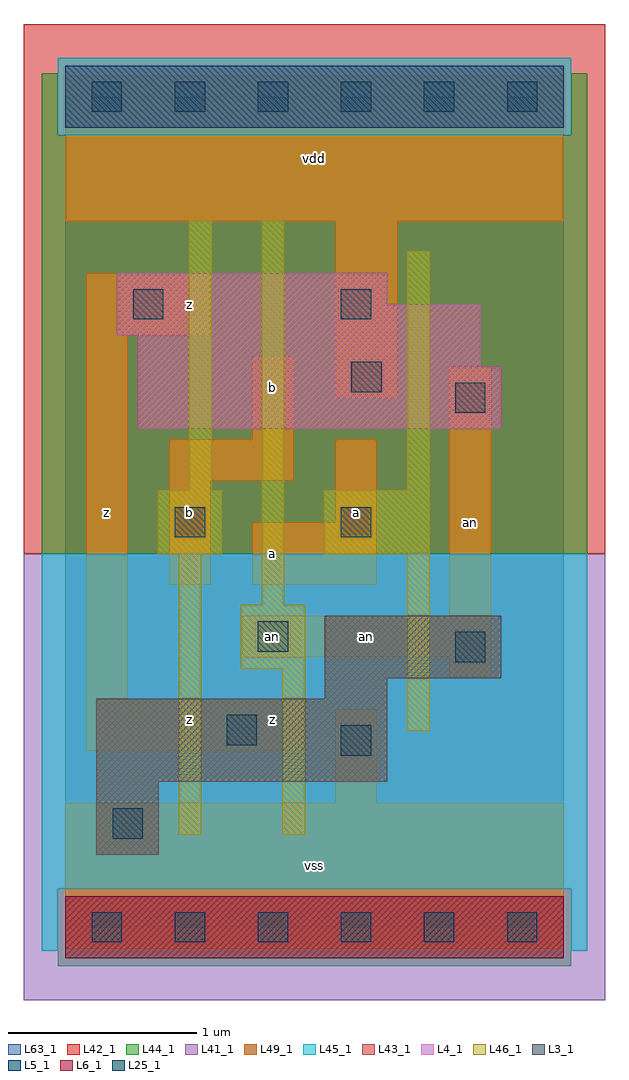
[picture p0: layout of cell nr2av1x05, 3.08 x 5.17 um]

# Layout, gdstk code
import gdstk
lib = gdstk.Library(unit=1e-6, precision=1e-09)
def R(c, l, rs):  # rectangles x0, y0, x1, y1
    for r in rs: c.add(gdstk.rectangle(r[:2], r[2:], *l))
def A(c, l, x, y, w, h, nx, ny, dx, dy):  # array of equal rectangles
    R(c, l, [(x+i*dx, y+j*dy, x+i*dx+w, y+j*dy+h) for i in range(nx) for j in range(ny)])
L3_1 = (3, 1)
L4_1 = (4, 1)
L5_1 = (5, 1)
L6_1 = (6, 1)
L25_1 = (25, 1)
L41_1 = (41, 1)
L42_1 = (42, 1)
L43_1 = (43, 1)
L44_1 = (44, 1)
L45_1 = (45, 1)
L46_1 = (46, 1)
L49_1 = (49, 1)
L63_1 = (63, 1)

nr2av1x05 = lib.new_cell('nr2av1x05')
R(nr2av1x05, L3_1, [(0.165,0.385,0.495,0.77), (0.165,0.77,1.705,1.21), (1.375,1.21,1.705,1.32), (1.375,1.32,2.31,1.65)])
R(nr2av1x05, L4_1, [(0.385,2.64,2.31,2.97), (0.385,2.97,2.2,3.135), (0.275,3.135,2.2,3.3), (0.275,3.3,1.705,3.465)])
R(nr2av1x05, L5_1, [(0,4.235,2.64,4.565)])
R(nr2av1x05, L6_1, [(0,-0.165,2.64,0.165)])
A(nr2av1x05, L25_1, 0.14, -0.08, 0.16, 0.16, 6, 2, 0.44, 4.4)
A(nr2av1x05, L25_1, 1.46, 0.91, 0.16, 0.16, 1, 3, 0, 1.155)
R(nr2av1x05, L25_1, [(0.25,0.47,0.41,0.63), (0.855,0.965,1.015,1.125), (2.065,1.405,2.225,1.565), (1.02,1.46,1.18,1.62), (0.58,2.065,0.74,2.225), (2.065,2.725,2.225,2.885), (1.515,2.835,1.675,2.995), (0.36,3.22,0.52,3.38)])
R(nr2av1x05, L41_1, [(-0.22,-0.385,2.86,1.98)])
R(nr2av1x05, L42_1, [(-0.22,1.98,2.86,4.785)])
R(nr2av1x05, L43_1, [(0,-0.165,2.64,0.165), (0.165,0.385,0.495,0.77), (0.165,0.77,1.705,1.21), (1.375,1.21,1.705,1.32), (1.375,1.32,2.31,1.65), (0.385,2.64,2.31,2.97), (0.385,2.97,2.2,3.135), (0.275,3.135,2.2,3.3), (0.275,3.3,1.705,3.465), (0,4.235,2.64,4.565)])
R(nr2av1x05, L44_1, [(-0.04,-0.205,2.68,0.205), (-0.125,1.98,2.765,4.195), (-0.125,4.195,-0.04,4.525), (2.68,4.195,2.765,4.525)])
R(nr2av1x05, L45_1, [(-0.125,-0.125,-0.04,0.205), (2.68,-0.125,2.765,0.205), (-0.125,0.205,2.765,1.98), (-0.04,4.195,2.68,4.605)])
R(nr2av1x05, L46_1, [(0.6,0.49,0.72,1.975), (1.15,0.49,1.27,1.37), (1.81,1.04,1.93,1.975), (0.93,1.37,1.27,1.71), (1.04,1.71,1.16,3.745), (0.49,1.975,0.83,2.315), (1.37,1.975,1.93,2.315), (0.655,2.315,0.775,3.745), (1.81,2.315,1.93,3.58)])
R(nr2av1x05, L49_1, [(0,-0.11,2.64,0.66), (1.43,0.66,1.65,1.155), (0.11,0.935,1.265,1.21), (0.11,1.21,0.33,3.135), (2.035,1.32,2.255,1.43), (0.935,1.43,2.255,1.65), (2.035,1.65,2.255,2.97), (0.55,1.815,0.77,2.365), (0.99,1.815,1.65,2.145), (1.43,2.145,1.65,2.585), (0.55,2.365,1.21,2.585), (0.99,2.585,1.21,3.025), (1.43,2.805,1.76,3.74), (0.11,3.135,0.77,3.465), (0,3.74,2.64,4.51)])
R(nr2av1x05, L63_1, [(0,0,2.64,4.4)])
nr2av1x05.add(gdstk.Label('an', (1.1,1.54), layer=49, texttype=1))
nr2av1x05.add(gdstk.Label('z', (0.22,2.2), layer=49, texttype=1))
nr2av1x05.add(gdstk.Label('z', (1.1,1.1), layer=49, texttype=1))
nr2av1x05.add(gdstk.Label('z', (0.66,1.1), layer=49, texttype=1))
nr2av1x05.add(gdstk.Label('a', (1.1,1.98), layer=49, texttype=1))
nr2av1x05.add(gdstk.Label('b', (0.66,2.2), layer=49, texttype=1))
nr2av1x05.add(gdstk.Label('b', (1.1,2.86), layer=49, texttype=1))
nr2av1x05.add(gdstk.Label('z', (0.66,3.3), layer=49, texttype=1))
nr2av1x05.add(gdstk.Label('vss', (1.32,0.33), layer=49, texttype=1))
nr2av1x05.add(gdstk.Label('a', (1.54,2.2), layer=49, texttype=1))
nr2av1x05.add(gdstk.Label('vdd', (1.32,4.07), layer=49, texttype=1))
nr2av1x05.add(gdstk.Label('an', (1.595,1.54), layer=49, texttype=1))
nr2av1x05.add(gdstk.Label('an', (2.145,2.145), layer=49, texttype=1))

lib.write_gds('nr2av1x05.gds')
